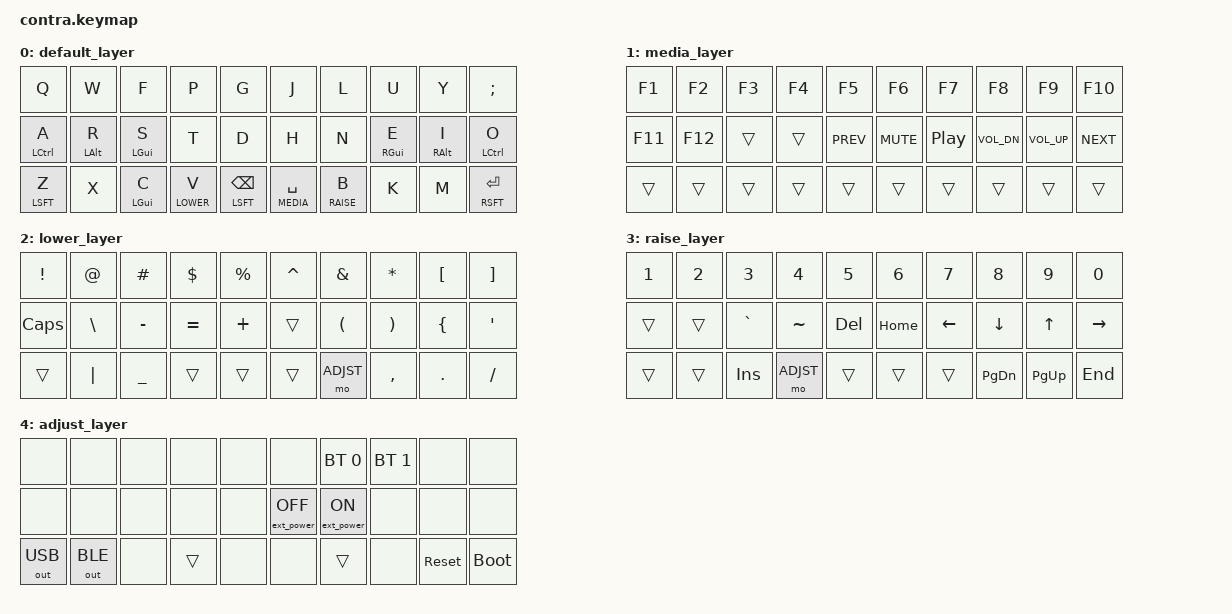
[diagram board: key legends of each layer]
/*
 * Copyright (c) 2021 The ZMK Contributors
 *
 * SPDX-License-Identifier: MIT
 */

#include <behaviors.dtsi>
#include <dt-bindings/zmk/keys.h>
#include <dt-bindings/zmk/bt.h>
#include <dt-bindings/zmk/outputs.h>
#include <dt-bindings/zmk/rgb.h>
#include <dt-bindings/zmk/backlight.h>
#include <dt-bindings/zmk/ext_power.h>


#define BASE  0     // alphas (Colemak)
#define MEDIA 1     // media control
#define LOWER 2     // symbols
#define RAISE 3     // number row & navigation
#define ADJST 4     // bluetooth


&lt {
    tapping-term-ms = <200>;
    quick_tap_ms = <200>;
    flavor = "balanced";
};

&mt {
    tapping-term-ms = <200>;
    quick_tap_ms = <200>;
    flavor = "balanced";
};

&caps_word {
    continue-list = <UNDERSCORE BACKSPACE DELETE MINUS DOT>;
};

/ {
    behaviors {
        hm: homerow_mods {
            compatible = "zmk,behavior-hold-tap";
            label = "HOMEROW_MODS";
            #binding-cells = <2>;
            flavor = "tap-preferred";
            tapping-term-ms = <200>;
            quick-tap-ms = <200>;
            bindings = <&kp>, <&kp>;
        };

        ph: positional_hold_tap {
            compatible = "zmk,behavior-hold-tap";
            label = "POSITIONAL_HOLD_TAP";
            #binding-cells = <2>;
            flavor = "tap-preferred";
            tapping-term-ms = <200>;
            quick-tap-ms = <200>;
            bindings = <&kp>, <&kp>;
            hold-trigger-key-positions = < 5  6  7  8  9
                                          15 16 17 18 19
                                                27 28 29>;
        };

        th: thumb_hold_tap {
            compatible = "zmk,behavior-hold-tap";
            label = "THUMB_HOLD_TAP";
            #binding-cells = <2>;
            flavor = "balanced";
            tapping-term-ms = <200>;
            quick-tap-ms = <0>;         // no key repeat
            bindings = <&mo>, <&kp>;
        };

        combos {
            compatible = "zmk,combos";

// Colemak (Horizontal Combos)
// -------------------------------------------------------------
// |     |<-  Tab  ->|     |     |     |     |     |     |     |
// |     |     |     |     |     |     |     |     |     |     |
// |     |     |<- Bkspc ->|     |     |<- Enter ->|     |     |
// -------------------------------------------------------------
            combo_esc   { timeout-ms = <50>; key-positions = < 0  1>; bindings = <&kp ESC>;   layers = <BASE MEDIA LOWER RAISE>; };
            combo_tab   { timeout-ms = <50>; key-positions = < 1  2>; bindings = <&kp TAB>;   layers = <BASE MEDIA LOWER RAISE>; };
            combo_bspc  { timeout-ms = <50>; key-positions = <22 23>; bindings = <&kp BSPC>;  layers = <BASE MEDIA LOWER RAISE>; };
            combo_enter { timeout-ms = <50>; key-positions = <26 27>; bindings = <&kp ENTER>; layers = <BASE MEDIA LOWER RAISE>; };
            combo_blt_clear { timeout-ms = <50>; key-positions = <8 9>; bindings = <&bt BT_CLR>; layers = <ADJST>; };

        };
    };

    keymap {
        compatible = "zmk,keymap";

        default_layer {
// (Hold)
// -------------------------------------------------------------
// |     |     |     |     |     |     |     |     |     |     |
// |LCtrl| LAlt| LGui|     |     |     |     | RGui| RAlt|RCtrl|
// |Shift|     | LGui|LOWER|Shift|MEDIA|RAISE|     |     |Shift|
// -------------------------------------------------------------
// Colemak
// -------------------------------------------------------------
// |  Q  |  W  |  F  |  P  |  G  |  J  |  L  |  U  |  Y  |  ;  |
// |  A  |  R  |  S  |  T  |  D  |  H  |  N  |  E  |  I  |  O  |
// |  Z  |  X  |  C  |  D  |BckSp|Space|  B  |  K  |  M  |Enter|
// -------------------------------------------------------------
            bindings = < 
    &kp Q       &kp W       &kp F       &kp P       &kp G         &kp J           &kp L       &kp U  &kp Y       &kp SEMI 
    &hm LCTRL A &mt LALT R  &mt LGUI S  &kp T       &kp D         &kp H           &kp N  &hm RGUI E  &hm RALT I  &hm LCTRL O
    &mt LSFT Z  &kp X       &mt LGUI C  &lt LOWER V &mt LSFT BSPC &th MEDIA SPACE &lt RAISE B &kp K   &kp M      &mt RSFT RET
            >;
        } ;


        media_layer {
// media
// -------------------------------------------------------------
// | F1  | F2  | F3  | F4  | F5  | F6  | F7  | F8  | F9  | F10 |
// | F11 | F12 |     |     |Prev |Mute |PLAY |VOL -|VOL +|Next |
// |     |     |     |     |     | *** |     |     |     |     |
// -------------------------------------------------------------
            bindings = <
    &kp F1   &kp F2    &kp F3    &kp F4    &kp F5      &kp F6   &kp F7     &kp F8     &kp F9     &kp F10 
    &kp F11  &kp F12   &trans    &trans    &kp C_PREV  &kp C_MUTE &kp C_PP   &kp C_VOL_DN   &kp C_VOL_UP  &kp C_NEXT
    &trans   &trans    &trans    &trans    &trans      &trans   &trans     &trans     &trans     &trans
            >;
        };

        lower_layer {
// symbols
// -------------------------------------------------------------
// |  !  |  @  |  #  |  $  |  %  |  ˆ  |  &  |  *  |  [  |  ]  |
// |CAPS |  \  |  -  |  =  |  +  |     |  (  |  )  |  {  |  '  |
// |     |  |  |  _  | *** |     |     | ADJ |  ,  |  .  |  /  |
// -------------------------------------------------------------
            bindings = <
    &kp EXCL     &kp AT       &kp HASH     &kp DLLR     &kp PRCNT    &kp CARET    &kp AMPS    &kp STAR     &kp LBKT     &kp RBKT
    &kp CAPS     &kp BSLH     &kp MINUS    &kp EQUAL    &kp PLUS     &trans       &kp LPAR    &kp RPAR     &kp LBRC     &kp SQT 
    &trans       &kp PIPE     &kp UNDER    &trans       &trans       &trans       &mo ADJST   &kp COMMA    &kp DOT      &kp FSLH
            >;
        };

        raise_layer {
// number row & navigation
// -------------------------------------------------------------
// |  1  |  2  |  3  |  4  |  5  |  6  |  7  |  8  |  9  |  0  |
// |     |     |  `  |  ˜  | DEL |HOME |Left |Down | Up  |Right|
// |     |     | INS | ADJ |     |     | *** |PG_DN|PG_UP|END  |
// -------------------------------------------------------------
            bindings = <
    &kp N1    &kp N2    &kp N3    &kp N4     &kp N5   &kp N6   &kp N7    &kp N8     &kp N9    &kp N0
    &trans    &trans    &kp GRAVE &kp TILDE  &kp DEL  &kp HOME &kp LEFT  &kp DOWN   &kp UP    &kp RIGHT
    &trans    &trans    &kp INS    &mo ADJST  &trans  &trans   &trans    &kp PG_DN  &kp PG_UP &kp END
            >;
        };

        adjust_layer {
// -------------------------------------------------------------
// |     |     |     |     |     |     | BT0 | BT1 |     |     |
// |     |     |     |     |     |PwOff|PwOn |     |     |     |
// | USB | BLE |     | *** |     |     | *** |     |Reset|BootL|
// -------------------------------------------------------------
            bindings = <
    &none        &none        &none   &none   &none      &none  &bt BT_SEL 0 &bt BT_SEL 1     &none        &none
    &none        &none        &none   &none   &none      &ext_power EP_OFF &ext_power EP_ON   &none        &none        &none
    &out OUT_USB &out OUT_BLE &none   &trans  &none      &none      &trans       &none        &sys_reset       &bootloader
            >;

        };
    };
};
